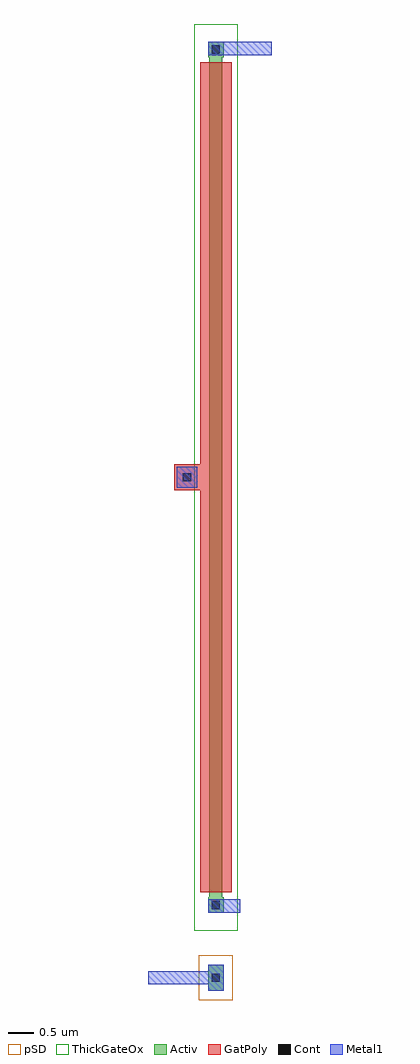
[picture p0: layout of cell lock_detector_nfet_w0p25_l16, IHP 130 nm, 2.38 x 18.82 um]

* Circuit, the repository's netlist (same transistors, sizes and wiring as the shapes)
* extracted by klt extract --deck sg13cmos5l

* cell lock_detector_nfet_w0p25_l16
* pin vsubs
.SUBCKT lock_detector_nfet_w0p25_l16 vsubs
* device instance $1 r0 *1 1.425,10.86 nfet
X$1 \$5 \$1 \$4 vsubs sg13_hv_nmos L=16U W=0.25U AS=0.1P AD=0.1P PS=1.3U PD=1.3U
.ENDS lock_detector_nfet_w0p25_l16

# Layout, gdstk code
import gdstk
lib = gdstk.Library(unit=1e-6, precision=1e-09)
def R(c, l, rs):  # rectangles x0, y0, x1, y1
    for r in rs: c.add(gdstk.rectangle(r[:2], r[2:], *l))
Activ = (1, 0)
GatPoly = (5, 0)
Cont = (6, 0)
Metal1 = (8, 0)
pSD = (14, 0)
ThickGateOx = (44, 0)

lock_detector_nfet_w0p25 = lib.new_cell('lock_detector_nfet_w0p25_l16')
R(lock_detector_nfet_w0p25, Activ, [(1.275,0.96,1.575,1.46), (1.275,2.46,1.575,2.76), (1.3,2.46,1.55,19.26), (1.275,18.96,1.575,19.26)])
R(lock_detector_nfet_w0p25, GatPoly, [(1.12,2.86,1.73,18.86), (0.62,10.61,1.12,11.11)])
R(lock_detector_nfet_w0p25, Cont, [(1.345,1.13,1.505,1.29), (1.345,2.53,1.505,2.69), (0.79,10.78,0.95,10.94), (1.345,19.03,1.505,19.19)])
R(lock_detector_nfet_w0p25, Metal1, [(1.275,0.96,1.575,1.46), (0.125,1.085,1.275,1.335), (1.275,2.46,1.9,2.72), (0.67,10.66,1.07,11.06), (1.275,19,2.5,19.26)])
R(lock_detector_nfet_w0p25, pSD, [(1.095,0.78,1.755,1.64)])
R(lock_detector_nfet_w0p25, ThickGateOx, [(1.005,2.12,1.845,19.6)])

lib.write_gds('lock_detector_nfet_w0p25_l16.gds')
